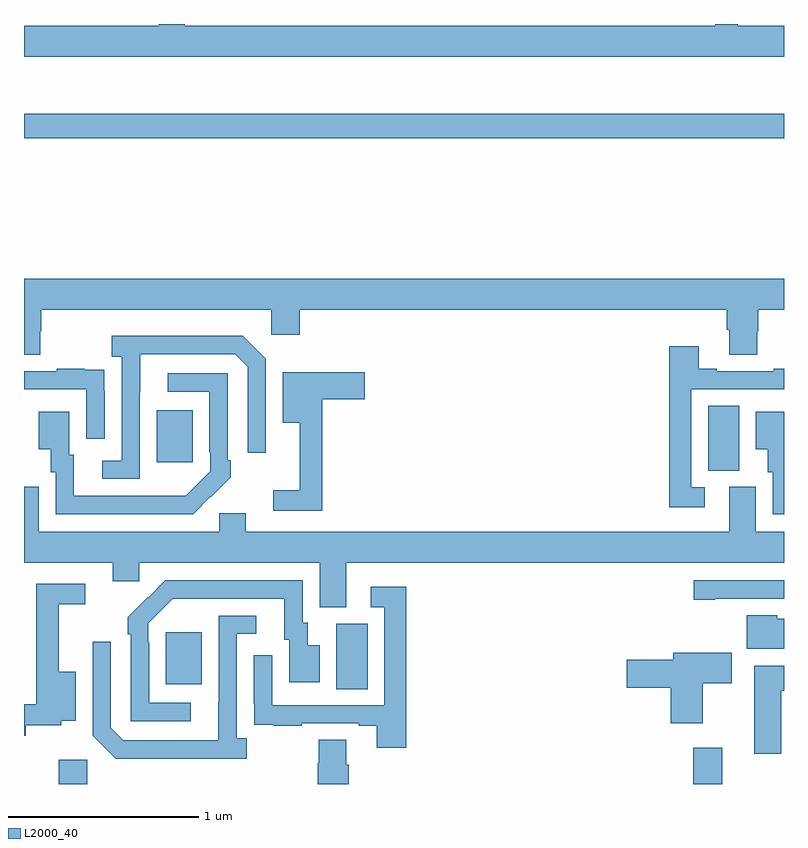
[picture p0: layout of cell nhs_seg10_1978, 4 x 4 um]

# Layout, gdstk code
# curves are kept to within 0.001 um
import gdstk
lib = gdstk.Library(unit=1e-6, precision=1e-09)
def R(c, l, rs):  # rectangles x0, y0, x1, y1
    for r in rs: c.add(gdstk.rectangle(r[:2], r[2:], *l))
def P(c, l, *ps):  # polygons
    for p in ps: c.add(gdstk.Polygon(p, *l))
L2000_40 = (2000, 40)

nhs_seg10_1978 = lib.new_cell('nhs_seg10_1978')
R(nhs_seg10_1978, L2000_40, [(215.183,1284.5,215.334,1284.628), (218.522,1284.5,218.674,1284.691), (216.644,1285,216.808,1285.344), (215.747,1285.025,215.935,1285.3), (218.6,1286.149,218.764,1286.492), (215.699,1286.193,215.887,1286.467), (215,1287.898,219,1288.027)])
P(nhs_seg10_1978, L2000_40, [(219,1288.492),(218.756,1288.492),(218.756,1288.5),(218.639,1288.5),(218.639,1288.492),(215.847,1288.492),(215.847,1288.5),(215.709,1288.5),(215.709,1288.492),(215,1288.492),(215,1288.328),(219,1288.328)],
  [(215,1286.758),(215.085,1286.758),(215.085,1286.883),(215.09,1286.883),(215.09,1286.996),(216.3,1286.996),(216.3,1286.865),(216.452,1286.865),(216.452,1286.996),(218.699,1286.996),(218.699,1286.89),(218.711,1286.89),(218.711,1286.758),(218.859,1286.758),(218.859,1286.883),(218.864,1286.883),(218.864,1286.996),(219,1286.996),(219,1287.16),(215,1287.16)],
  [(215.61,1286.563),(215.611,1286.763),(216.111,1286.763),(216.177,1286.697),(216.177,1286.244),(216.273,1286.244),(216.273,1286.739),(216.152,1286.86),(215.463,1286.86),(215.463,1286.75),(215.514,1286.75),(215.514,1286.202),(215.412,1286.202),(215.412,1286.106),(215.61,1286.106)],
  [(218.584,1286.061),(218.511,1286.061),(218.511,1286.577),(219,1286.577),(219,1286.686),(218.947,1286.686),(218.947,1286.673),(218.647,1286.673),(218.647,1286.686),(218.551,1286.686),(218.551,1286.803),(218.395,1286.803),(218.395,1285.956),(218.584,1285.956)],
  [(215.424,1286.57),(215.423,1286.57),(215.423,1286.679),(215.321,1286.679),(215.321,1286.686),(215.173,1286.686),(215.173,1286.673),(215,1286.673),(215,1286.577),(215.328,1286.577),(215.328,1286.316),(215.424,1286.316)],
  [(216.569,1286.525),(216.793,1286.525),(216.793,1286.667),(216.362,1286.667),(216.362,1286.402),(216.452,1286.402),(216.452,1286.047),(216.312,1286.047),(216.312,1285.938),(216.569,1285.938)],
  [(215.981,1286.011),(215.982,1286.01),(216.087,1286.115),(216.087,1286.203),(216.072,1286.203),(216.072,1286.661),(215.757,1286.661),(215.757,1286.565),(215.976,1286.565),(215.976,1286.245),(215.979,1286.245),(215.979,1286.145),(215.851,1286.017),(215.263,1286.016),(215.263,1286.232),(215.239,1286.232),(215.239,1286.458),(215.078,1286.458),(215.078,1286.261),(215.141,1286.261),(215.141,1286.142),(215.166,1286.142),(215.166,1285.92),(215.89,1285.92)],
  [(219,1286.458),(218.852,1286.458),(218.852,1286.261),(218.915,1286.261),(218.915,1286.142),(218.94,1286.142),(218.94,1285.92),(219,1285.92)],
  [(216.697,1285.664),(219,1285.664),(219,1285.828),(218.851,1285.828),(218.851,1286.064),(218.711,1286.064),(218.711,1285.828),(216.166,1285.828),(216.166,1285.926),(216.027,1285.926),(216.027,1285.828),(215.077,1285.828),(215.077,1286.064),(215,1286.064),(215,1285.664),(215.468,1285.664),(215.468,1285.566),(215.607,1285.566),(215.607,1285.664),(216.557,1285.664),(216.557,1285.429),(216.697,1285.429)],
  [(215.878,1284.927),(215.658,1284.927),(215.658,1285.247),(215.655,1285.247),(215.655,1285.347),(215.784,1285.476),(216.371,1285.476),(216.371,1285.26),(216.395,1285.26),(216.395,1285.035),(216.556,1285.035),(216.556,1285.231),(216.493,1285.231),(216.493,1285.35),(216.468,1285.35),(216.468,1285.572),(215.744,1285.572),(215.547,1285.377),(215.547,1285.289),(215.562,1285.289),(215.562,1284.831),(215.878,1284.831)],
  [(218.638,1285.476),(219,1285.476),(219,1285.572),(218.526,1285.572),(218.526,1285.471),(218.638,1285.471)],
  [(215.008,1284.809),(215.196,1284.809),(215.196,1284.833),(215.272,1284.833),(215.272,1285.09),(215.183,1285.09),(215.183,1285.446),(215.323,1285.446),(215.323,1285.554),(215.065,1285.554),(215.065,1284.92),(215,1284.92),(215,1284.755),(215.008,1284.755)],
  [(217.013,1285.537),(216.825,1285.537),(216.825,1285.431),(216.897,1285.431),(216.897,1284.915),(216.306,1284.915),(216.306,1285.177),(216.21,1285.177),(216.21,1284.922),(216.211,1284.922),(216.211,1284.813),(216.313,1284.813),(216.313,1284.807),(216.461,1284.807),(216.461,1284.819),(216.761,1284.819),(216.761,1284.807),(216.857,1284.807),(216.857,1284.69),(217.013,1284.69)],
  [(219,1285.369),(218.964,1285.369),(218.964,1285.387),(218.804,1285.387),(218.804,1285.211),(219,1285.211)],
  [(216.172,1284.742),(216.12,1284.742),(216.12,1285.29),(216.223,1285.29),(216.223,1285.386),(216.024,1285.386),(216.023,1284.729),(215.523,1284.729),(215.457,1284.795),(215.457,1285.249),(215.361,1285.249),(215.361,1284.753),(215.482,1284.632),(216.172,1284.632)],
  [(218.572,1285.03),(218.725,1285.03),(218.725,1285.192),(218.417,1285.192),(218.417,1285.154),(218.172,1285.154),(218.172,1285.007),(218.405,1285.007),(218.405,1284.819),(218.572,1284.819)],
  [(218.986,1284.992),(219,1284.992),(219,1285.123),(218.843,1285.123),(218.843,1284.66),(218.986,1284.66)],
  [(216.71,1284.602),(216.697,1284.602),(216.697,1284.734),(216.55,1284.734),(216.55,1284.609),(216.545,1284.609),(216.545,1284.5),(216.71,1284.5)])

lib.write_gds('nhs_seg10_1978.gds')
